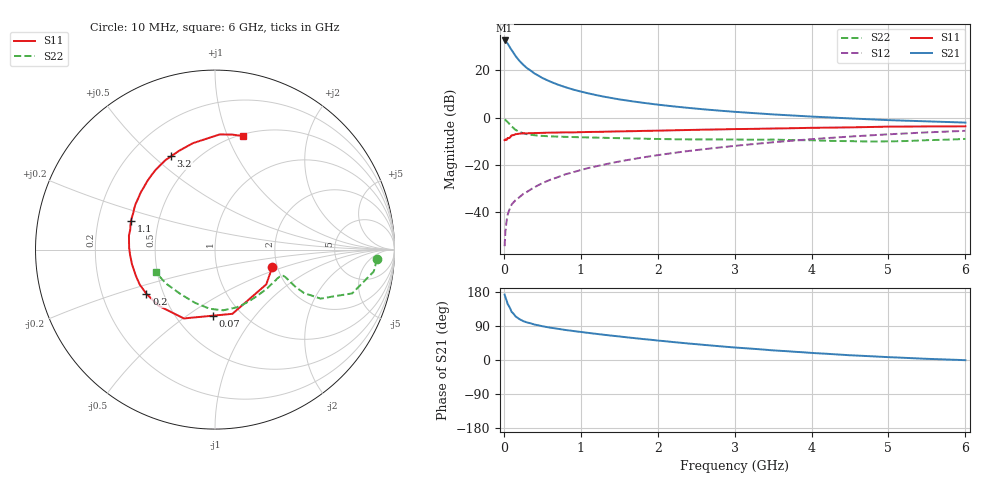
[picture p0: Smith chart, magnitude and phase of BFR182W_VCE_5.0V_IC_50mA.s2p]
! (c) 2017  Infineon Technologies AG, Munich
! Infineon Technologies  Discrete & RF Semiconductors
! BFR182W
! VCE =  5.0 V,  IC =  50 mA
! Common Emitter S-Parameters:  Jan 2017
# GHz  S  MA  R  50
!  f  S11  S21  S12  S22
! GHz  MAG  ANG  MAG  ANG  MAG  ANG  MAG  ANG
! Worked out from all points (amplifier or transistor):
!   77 points, 10 MHz to 6 GHz, reference 50 ohm
!   highest |S21| = 32.6 dB at 10 MHz (marker M1)
!   |S21| within 3 dB of that: start of sweep to 80.48 MHz
!   unconditionally stable (mu >= 1): start of sweep to 10.64 MHz; 297 MHz to 2.368 GHz
!   at 130 MHz: K = 0.67, MSG = 31.5 dB, |S12| = -35.8 dB
!   at 2.2 GHz: K = 1.02, MAG = 9.0 dB, |S12| = -15.0 dB
!   at 6 GHz: K = 0.91, MSG = 1.7 dB, |S12| = -5.6 dB
!   S11 on the Smith chart (normalised r, x): 10 MHz: 1.87, -0.42; 70 MHz: 0.75, -0.64; 200 MHz: 0.40, -0.25; 1.1 GHz: 0.35, +0.15; 3.2 GHz: 0.37, +0.57; 6 GHz: 0.52, +1.14
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0.01  0.3334 -17.3  42.68 172.6  0.0019 72.8  0.9044 -3.4
0.02  0.3452 -34.1  42.28 165.9  0.0038 78.7  0.8926 -7.9
0.05  0.3707 -74.8  36.57 147.4  0.0088 69.0  0.8024 -17.7
0.07  0.3682 -91.7  32.26 140.8  0.011 65.9  0.7395 -20.2
0.1  0.4209 -114.3  26.92 127.2  0.0143 63.1  0.6486 -24.9
0.15  0.4429 -134.9  20.24 115.5  0.0177 62.6  0.5515 -26.0
0.2  0.4549 -147.1  15.97 108.2  0.0205 63.2  0.4984 -25.0
0.25  0.4624 -155.3  13.16 102.8  0.024 64.4  0.4668 -23.7
0.3  0.4644 -161.6  11.12 99.2  0.0267 67.2  0.4445 -22.6
0.4  0.4696 -170.0  8.519 93.4  0.0336 69.7  0.4218 -21.4
0.5  0.4741 -176.4  6.874 89.1  0.0409 71.8  0.4087 -21.0
0.6  0.4786 178.6  5.782 85.5  0.048 73.4  0.4002 -21.2
0.7  0.4813 174.4  4.983 82.4  0.0546 74.9  0.395 -21.8
0.9  0.4849 167.0  3.909 76.6  0.0695 75.7  0.3864 -23.8
1.1  0.4947 161.0  3.239 71.5  0.0856 76.1  0.3795 -26.5
1.5  0.5096 150.5  2.423 62.2  0.1173 75.3  0.3657 -33.4
2.1  0.5315 136.7  1.798 49.5  0.1687 72.2  0.3493 -46.8
3.1  0.5718 117.1  1.288 31.6  0.2606 64.1  0.3415 -72.4
3.2  0.5745 115.3  1.256 30.2  0.2701 63.2  0.3405 -74.9
4.1  0.6078 100.1  1.029 17.5  0.3575 53.8  0.3263 -98.1
5.1  0.6427 86.5  0.87 6.7  0.4501 42.3  0.3151 -131.9
6  0.6516 76.0  0.782 -0.5  0.5235 31.6  0.3529 -158.9
